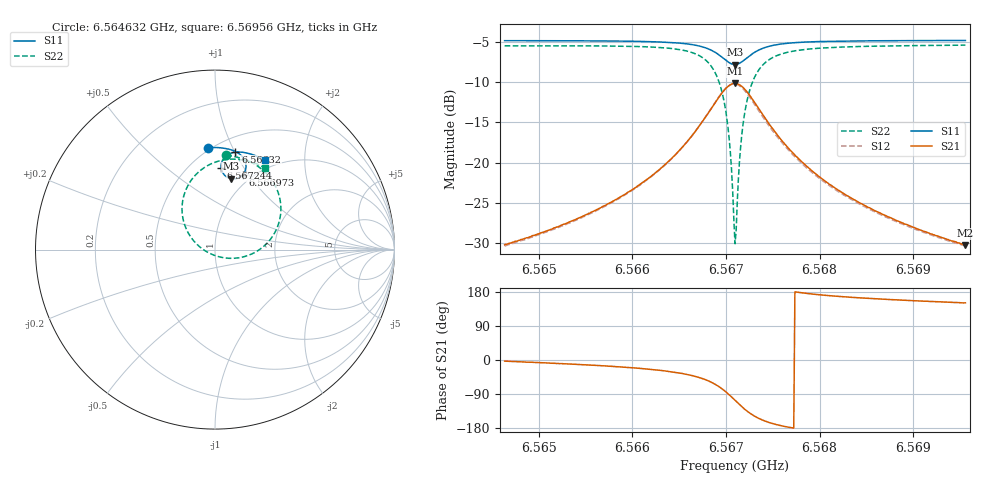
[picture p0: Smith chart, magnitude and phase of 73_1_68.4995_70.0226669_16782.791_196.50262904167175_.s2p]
#  HZ  S  RI  R  50.00
! Rohde & Schwarz Vector Network Analyzer
! Rohde-Schwarz,ZNB20-2Port,1311601062101988,3.16
! Created: UTC 3/20/2024, 4:51:49 PM
! freq[Hz]  re:S11  im:S11  re:S21  im:S21  re:S12  im:S12  re:S22  im:S22
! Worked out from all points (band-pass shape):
!   401 points, 6.564632 GHz to 6.56956 GHz, reference 50 ohm
!   highest |S21| = -10.19 dB at 6.567096 GHz (marker M1); lowest = -30.2 dB at 6.56956 GHz (marker M2)
!   |S21| within 3 dB of the highest: 6.566849 GHz to 6.567342 GHz (493.7 kHz wide, 0.00752 % of centre)
!   lowest |S11| = -7.9 dB at 6.567096 GHz (marker M3), VSWR 2.36, Z = 42.3 + j40 ohm
!   |S11| at or under -10 dB: nowhere
!   |S22| runs from -30.0 to -5.4 dB; largest |S21 - S12| = 0.016
!   S11 on the Smith chart (normalised r, x): 6.564632 GHz: 0.48, +0.81; 6.56632 GHz: 0.64, +1.01; 6.566973 GHz: 0.90, +0.93; 6.567244 GHz: 0.70, +0.80; 6.56956 GHz: 0.88, +1.30
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6.5646323e9  -0.0405 0.5679  0.0309 -0.00158  0.0303 -0.00215  0.0627 0.5254
6.5654577e9  0.0286 0.5673  0.0452 -0.00982  0.0444 -0.0105  0.1454 0.5085
6.5662831e9  0.1099 0.5484  0.0803 -0.041  0.0791 -0.0419  0.2665 0.4428
6.5663201e9  0.1141 0.5464  0.083 -0.0443  0.0819 -0.0452  0.274 0.4364
6.5665911e9  0.1481 0.5226  0.1068 -0.0849  0.1051 -0.0866  0.3354 0.3563
6.5667759e9  0.1697 0.4866  0.1178 -0.1485  0.1148 -0.1517  0.3671 0.2336
6.5668868e9  0.1713 0.4496  0.1019 -0.2136  0.0958 -0.2178  0.3407 0.1095
6.566973e9  0.1533 0.4151  0.053 -0.2723  0.0425 -0.2753  0.2494 0.00111
6.5670346e9  0.1245 0.3969  -0.0102 -0.3004  -0.0239 -0.2995  0.1317 -0.0458
6.5670839e9  0.095 0.394  -0.0719 -0.3008  -0.0862 -0.295  0.0203 -0.0394
6.5670962e9  0.0874 0.3954  -0.0873 -0.297  -0.1012 -0.29  -0.00668 -0.0307
6.5671085e9  0.0801 0.3975  -0.1023 -0.2916  -0.1157 -0.2835  -0.0327 -0.0193
6.5671208e9  0.0731 0.4005  -0.1166 -0.2849  -0.1293 -0.2755  -0.0573 -0.00522
6.5671455e9  0.0603 0.4084  -0.1426 -0.2677  -0.1535 -0.2566  -0.1 0.0289
6.5671701e9  0.0499 0.4185  -0.1639 -0.2469  -0.1726 -0.2343  -0.1343 0.0689
6.5672071e9  0.0393 0.436  -0.1865 -0.2118  -0.1918 -0.1984  -0.1676 0.1338
6.567244e9  0.0345 0.4541  -0.1984 -0.1765  -0.2007 -0.1634  -0.1822 0.1974
6.5673426e9  0.0406 0.494  -0.1954 -0.099  -0.1931 -0.0894  -0.1629 0.3315
6.5674904e9  0.068 0.5263  -0.1602 -0.0364  -0.1566 -0.031  -0.0872 0.4362
6.5679216e9  0.136 0.5438  -0.0883 0.00904  -0.0861 0.0104  0.0699 0.5026
6.568747e9  0.2172 0.5262  -0.043 0.016  -0.042 0.0163  0.2025 0.4878
6.5695601e9  0.2792 0.4981  -0.0269 0.015  -0.0263 0.0152  0.2792 0.4552
